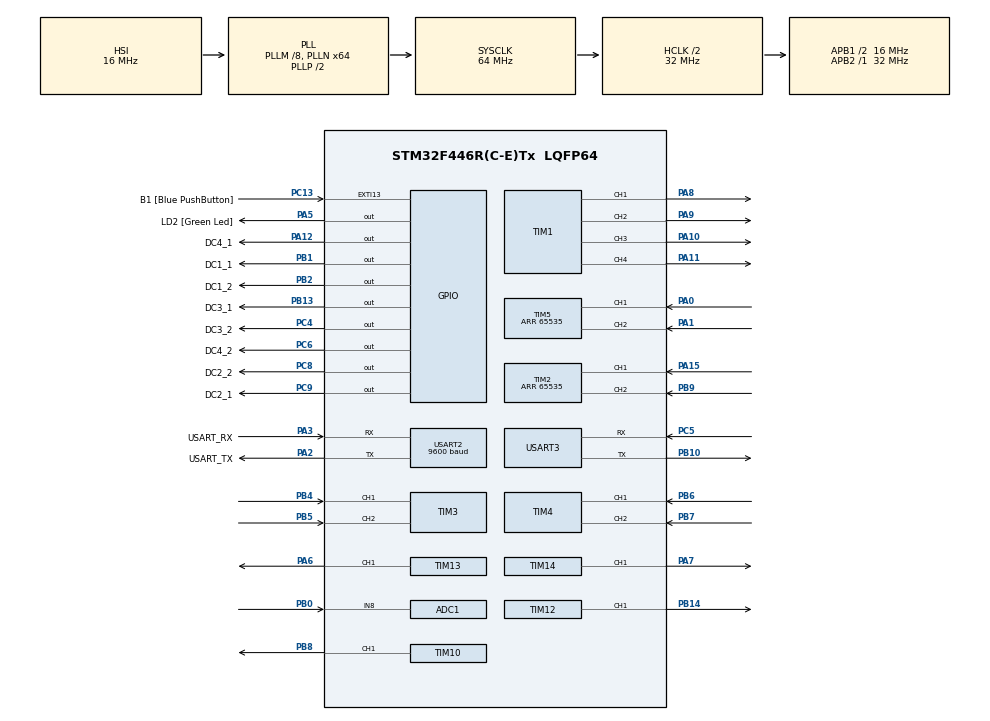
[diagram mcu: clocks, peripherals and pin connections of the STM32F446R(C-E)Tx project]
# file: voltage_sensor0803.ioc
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ADC1.Channel-0\#ChannelRegularConversion=ADC_CHANNEL_8
ADC1.ContinuousConvMode=ENABLE
ADC1.NbrOfConversionFlag=1
ADC1.Rank-0\#ChannelRegularConversion=1
ADC1.SamplingTime-0\#ChannelRegularConversion=ADC_SAMPLETIME_3CYCLES
ADC1.master=1
Mcu.Family=STM32F4
Mcu.Name=STM32F446R(C-E)Tx
Mcu.Package=LQFP64
NVIC.PriorityGroup=NVIC_PRIORITYGROUP_0
NVIC.TIM2_IRQn=true\:0\:0\:false\:false\:true\:true\:true\:true
NVIC.TIM3_IRQn=true\:0\:0\:false\:false\:true\:true\:true\:true
NVIC.TIM4_IRQn=true\:0\:0\:false\:false\:true\:true\:true\:true
NVIC.TIM5_IRQn=true\:0\:0\:false\:false\:true\:true\:true\:true
NVIC.USART2_IRQn=true\:0\:0\:false\:false\:true\:true\:true\:true
PA0-WKUP.Signal=S_TIM5_CH1
PA1.Signal=S_TIM5_CH2
PA10.Signal=S_TIM1_CH3
PA11.Signal=S_TIM1_CH4
PA12.GPIO_Label=DC4_1
PA12.Signal=GPIO_Output
PA13.GPIO_Label=TMS
PA13.Mode=Serial_Wire
PA13.Signal=SYS_JTMS-SWDIO
PA14.GPIO_Label=TCK
PA14.Mode=Serial_Wire
PA14.Signal=SYS_JTCK-SWCLK
PA15.Signal=S_TIM2_CH1_ETR
PA2.GPIO_Label=USART_TX
PA2.Mode=Asynchronous
PA2.Signal=USART2_TX
PA3.GPIO_Label=USART_RX
PA3.Mode=Asynchronous
PA3.Signal=USART2_RX
PA5.GPIO_Label=LD2 [Green Led]
PA5.Signal=GPIO_Output
PA6.Signal=S_TIM13_CH1
PA7.Signal=S_TIM14_CH1
PA8.Signal=S_TIM1_CH1
PA9.Signal=S_TIM1_CH2
PB0.Signal=ADCx_IN8
PB1.GPIO_Label=DC1_1
PB1.Signal=GPIO_Output
PB10.Mode=Asynchronous
PB10.Signal=USART3_TX
PB13.GPIO_Label=DC3_1
PB13.Signal=GPIO_Output
PB14.Signal=S_TIM12_CH1
PB2.GPIO_Label=DC1_2
PB2.Signal=GPIO_Output
PB3.GPIO_Label=SWO
PB3.Signal=SYS_JTDO-SWO
PB4.Signal=S_TIM3_CH1
PB5.Signal=S_TIM3_CH2
PB6.Signal=S_TIM4_CH1
PB7.Signal=S_TIM4_CH2
PB8.Signal=S_TIM10_CH1
PB9.Signal=S_TIM2_CH2
PC13.GPIO_Label=B1 [Blue PushButton]
PC13.GPIO_ModeDefaultEXTI=GPIO_MODE_IT_FALLING
PC13.Signal=GPXTI13
PC14-OSC32_IN.Mode=LSE-External-Oscillator
PC14-OSC32_IN.Signal=RCC_OSC32_IN
PC15-OSC32_OUT.Mode=LSE-External-Oscillator
PC15-OSC32_OUT.Signal=RCC_OSC32_OUT
PC4.GPIO_Label=DC3_2
PC4.Signal=GPIO_Output
PC5.Mode=Asynchronous
PC5.Signal=USART3_RX
PC6.GPIO_Label=DC4_2
PC6.Signal=GPIO_Output
PC8.GPIO_Label=DC2_2
PC8.Signal=GPIO_Output
PC9.GPIO_Label=DC2_1
PC9.Signal=GPIO_Output
PH0-OSC_IN.Mode=HSE-External-Oscillator
PH0-OSC_IN.Signal=RCC_OSC_IN
PH1-OSC_OUT.Mode=HSE-External-Oscillator
PH1-OSC_OUT.Signal=RCC_OSC_OUT
ProjectManager.HeapSize=0x200
ProjectManager.StackSize=0x400
ProjectManager.TargetToolchain=STM32CubeIDE
RCC.48MHZClocksFreq_Value=84000000
RCC.AHBCLKDivider=RCC_SYSCLK_DIV2
RCC.AHBFreq_Value=32000000
RCC.APB1CLKDivider=RCC_HCLK_DIV2
RCC.APB1Freq_Value=16000000
RCC.APB1TimFreq_Value=32000000
RCC.APB2Freq_Value=32000000
RCC.APB2TimFreq_Value=32000000
RCC.CortexFreq_Value=32000000
RCC.FLatency-AdvancedSettings=FLASH_LATENCY_1
RCC.HCLKFreq_Value=32000000
RCC.HSE_VALUE=8000000
RCC.HSI_VALUE=16000000
RCC.PLLM=8
RCC.PLLN=64
RCC.SYSCLKFreq_VALUE=64000000
RCC.SYSCLKSource=RCC_SYSCLKSOURCE_PLLCLK
RCC.USBFreq_Value=64000000
RCC.VCOOutputFreq_Value=128000000
SH.ADCx_IN8.0=ADC1_IN8,IN8
SH.S_TIM10_CH1.0=TIM10_CH1,PWM Generation1 CH1
SH.S_TIM12_CH1.0=TIM12_CH1,PWM Generation1 CH1
SH.S_TIM13_CH1.0=TIM13_CH1,PWM Generation1 CH1
SH.S_TIM14_CH1.0=TIM14_CH1,PWM Generation1 CH1
SH.S_TIM1_CH1.0=TIM1_CH1,PWM Generation1 CH1
SH.S_TIM1_CH2.0=TIM1_CH2,PWM Generation2 CH2
SH.S_TIM1_CH3.0=TIM1_CH3,PWM Generation3 CH3
SH.S_TIM1_CH4.0=TIM1_CH4,PWM Generation4 CH4
SH.S_TIM2_CH1_ETR.0=TIM2_CH1,Encoder_Interface
SH.S_TIM2_CH2.0=TIM2_CH2,Encoder_Interface
SH.S_TIM3_CH1.0=TIM3_CH1,Encoder_Interface
SH.S_TIM3_CH2.0=TIM3_CH2,Encoder_Interface
SH.S_TIM4_CH1.0=TIM4_CH1,Encoder_Interface
SH.S_TIM4_CH2.0=TIM4_CH2,Encoder_Interface
SH.S_TIM5_CH1.0=TIM5_CH1,Encoder_Interface
SH.S_TIM5_CH2.0=TIM5_CH2,Encoder_Interface
TIM1.Channel-PWM\ Generation1\ CH1=TIM_CHANNEL_1
TIM1.Channel-PWM\ Generation2\ CH2=TIM_CHANNEL_2
TIM1.Channel-PWM\ Generation3\ CH3=TIM_CHANNEL_3
TIM1.Channel-PWM\ Generation4\ CH4=TIM_CHANNEL_4
TIM10.Channel=TIM_CHANNEL_1
TIM10.Period=1000
TIM10.Prescaler=640
TIM12.Channel-PWM\ Generation1\ CH1=TIM_CHANNEL_1
TIM12.Period=1000
TIM12.Prescaler=640
TIM13.Channel=TIM_CHANNEL_1
TIM13.Period=1000
TIM13.Prescaler=640
TIM14.Channel=TIM_CHANNEL_1
TIM14.Period=1000
TIM14.Prescaler=640
TIM2.EncoderMode=TIM_ENCODERMODE_TI12
TIM2.Period=65535
TIM3.EncoderMode=TIM_ENCODERMODE_TI12
TIM4.EncoderMode=TIM_ENCODERMODE_TI12
TIM5.EncoderMode=TIM_ENCODERMODE_TI12
TIM5.Period=65535
USART2.BaudRate=9600
USART2.VirtualMode=VM_ASYNC
USART3.VirtualMode=VM_ASYNC
VP_TIM10_VS_ClockSourceINT.Mode=Enable_Timer
VP_TIM11_VS_ClockSourceINT.Mode=Enable_Timer
VP_TIM12_VS_ClockSourceINT.Mode=Internal
VP_TIM13_VS_ClockSourceINT.Mode=Enable_Timer
VP_TIM14_VS_ClockSourceINT.Mode=Enable_Timer
VP_TIM1_VS_ClockSourceINT.Mode=Internal
VP_TIM1_VS_OPM.Mode=OPM_bit
board=NUCLEO-F446RE

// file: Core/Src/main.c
/* USER CODE BEGIN Header */
/**
  ******************************************************************************
  * @file           : main.c
  * @brief          : Main program body
  ******************************************************************************
  * @attention
  *
  * Copyright (c) 2022 STMicroelectronics.
  * All rights reserved.
  *
  * This software is licensed under terms that can be found in the LICENSE file
  * in the root directory of this software component.
  * If no LICENSE file comes with this software, it is provided AS-IS.
  *
  ******************************************************************************
  */
/* USER CODE END Header */
#include "main.h"

/* USER CODE BEGIN Includes */
#include <stdlib.h>
#include <string.h>
/* USER CODE END Includes */

 ADC_HandleTypeDef hadc1;

TIM_HandleTypeDef htim1;
TIM_HandleTypeDef htim2;
TIM_HandleTypeDef htim3;
TIM_HandleTypeDef htim4;
TIM_HandleTypeDef htim5;
TIM_HandleTypeDef htim10;
TIM_HandleTypeDef htim11;
TIM_HandleTypeDef htim12;
TIM_HandleTypeDef htim13;
TIM_HandleTypeDef htim14;

UART_HandleTypeDef huart2;
UART_HandleTypeDef huart3;

/* USER CODE BEGIN PV */
uint16_t readValue;
float voltage;
/* USER CODE END PV */

void SystemClock_Config(void);
static void MX_GPIO_Init(void);
static void MX_USART2_UART_Init(void);
static void MX_TIM1_Init(void);
static void MX_TIM2_Init(void);
static void MX_TIM3_Init(void);
static void MX_TIM4_Init(void);
static void MX_TIM5_Init(void);
static void MX_TIM10_Init(void);
static void MX_TIM11_Init(void);
static void MX_TIM12_Init(void);
static void MX_TIM14_Init(void);
static void MX_TIM13_Init(void);
static void MX_USART3_UART_Init(void);
static void MX_ADC1_Init(void);
/* USER CODE BEGIN PFP */

void DCmotor(int, int, int, int);
void Servo(int, int, int, int);
/* USER CODE END PFP */

/* USER CODE BEGIN 0 */

uint32_t counter2 = 0;
uint32_t counter3 = 0;
uint32_t counter4 = 0;
uint32_t counter5 = 0;

int16_t count2 = 0;
int16_t count3 = 0;
int16_t count4 = 0;
int16_t count5 = 0;

uint8_t Rx_data[1];
int i=0;

void HAL_TIM_IC_CaptureCallback(TIM_HandleTypeDef *htim)
{
	if(htim == &htim2){
		counter2 = __HAL_TIM_GET_COUNTER(htim);
		count2 = (int16_t)counter2;
	}
	else if(htim == &htim3){
			counter3 = __HAL_TIM_GET_COUNTER(htim);
			count3 = (int16_t)counter3;
		}
	else if(htim == &htim4){
			counter4 = __HAL_TIM_GET_COUNTER(htim);
			count4 = (int16_t)counter4;
		}
	else if(htim == &htim5){
			counter5 = __HAL_TIM_GET_COUNTER(htim);
			count5 = (int16_t)counter5;
		}

}
void DCmotor(int speed1, int speed2, int speed3, int speed4)
{
	int a1=0, a2=0, a3=0, a4=0;
	int b1=0, b2=0, b3=0, b4=0;
	htim1.Instance-> CCR1 = abs(speed1);
	htim1.Instance-> CCR2 = abs(speed2);
	htim1.Instance-> CCR3 = abs(speed3);
	htim1.Instance-> CCR4 = abs(speed4);
	if(speed1>0){
		a1=1, b1=0;
	}else if (speed1<0){
		a1=0, b1=1;
	}else{
		a1=0, b1=0;
	}
	if(speed2>0){
		a2=1, b2=0;
	}else if (speed2<0){
		a2=0, b2=1;
	}else{
		a2=0, b2=0;
	}
	if(speed3>0){
		a3=1, b3=0;
	}else if (speed3<0){
		a3=0, b3=1;
	}else{
		a3=0, b3=0;
	}
	if(speed4>0){
		a4=1, b4=0;
	}else if (speed4<0){
		a4=0, b4=1;
	}else{
		a4=0, b4=0;
	}
	for(int i=0;i<2;i++){
		HAL_GPIO_WritePin(DC1_1_GPIO_Port, DC1_1_Pin, a1);
		HAL_GPIO_WritePin(DC1_2_GPIO_Port, DC1_2_Pin, b1);
		HAL_GPIO_WritePin(DC2_1_GPIO_Port, DC2_1_Pin, a2);
		HAL_GPIO_WritePin(DC2_2_GPIO_Port, DC2_2_Pin, b2);
		HAL_GPIO_WritePin(DC3_1_GPIO_Port, DC3_1_Pin, a3);
		HAL_GPIO_WritePin(DC3_2_GPIO_Port, DC3_2_Pin, b3);
		HAL_GPIO_WritePin(DC4_1_GPIO_Port, DC4_1_Pin, a4);
		HAL_GPIO_WritePin(DC4_2_GPIO_Port, DC4_2_Pin, b4);
		HAL_Delay(1000);
	}
}

void Servo(int speed1, int speed2, int speed3, int speed4)
{
	htim10.Instance->CCR1 = speed1;
	htim12.Instance->CCR1 = speed2;
	htim13.Instance->CCR1 = speed3;
	htim14.Instance->CCR1 = speed4;
}

void Voltage(ADC_HandleTypeDef* hadc)
{
	  HAL_ADC_PollForConversion(hadc,1000);
	  readValue = HAL_ADC_GetValue(hadc);
	  voltage =(float)readValue/4095*16.5;
	  HAL_Delay(100);
}
/* USER CODE END 0 */

int main(void)
{

  /* MCU Configuration--------------------------------------------------------*/

  /* Reset of all peripherals, Initializes the Flash interface and the Systick. */
  HAL_Init();

  /* Configure the system clock */
  SystemClock_Config();

  /* Initialize all configured peripherals */
  MX_GPIO_Init();
  MX_USART2_UART_Init();
  MX_TIM1_Init();
  MX_TIM2_Init();
  MX_TIM3_Init();
  MX_TIM4_Init();
  MX_TIM5_Init();
  MX_TIM10_Init();
  MX_TIM11_Init();
  MX_TIM12_Init();
  MX_TIM14_Init();
  MX_TIM13_Init();
  MX_USART3_UART_Init();
  MX_ADC1_Init();
  /* USER CODE BEGIN 2 */
  HAL_TIM_Encoder_Start_IT(&htim2, TIM_CHANNEL_ALL);
  HAL_TIM_Encoder_Start_IT(&htim3, TIM_CHANNEL_ALL);
  HAL_TIM_Encoder_Start_IT(&htim4, TIM_CHANNEL_ALL);
  HAL_TIM_Encoder_Start_IT(&htim5, TIM_CHANNEL_ALL);

  // start DC motor PWM
  HAL_TIM_PWM_Start(&htim1, TIM_CHANNEL_1);
  HAL_TIM_PWM_Start(&htim1, TIM_CHANNEL_2);
  HAL_TIM_PWM_Start(&htim1, TIM_CHANNEL_3);
  HAL_TIM_PWM_Start(&htim1, TIM_CHANNEL_4);

  htim1.Instance-> CCR1 = 80;
  htim1.Instance-> CCR2 = 80;
  htim1.Instance-> CCR3 = 80;
  htim1.Instance-> CCR4 = 80;

  // Servo PWM
  HAL_TIM_PWM_Start(&htim10, TIM_CHANNEL_1);
  HAL_TIM_PWM_Start(&htim12, TIM_CHANNEL_1);
  HAL_TIM_PWM_Start(&htim13, TIM_CHANNEL_1);
  HAL_TIM_PWM_Start(&htim14, TIM_CHANNEL_1);

  htim10.Instance->CCR1 = 75;
  htim12.Instance->CCR1 = 80;
  htim13.Instance->CCR1 = 100;
  htim14.Instance->CCR1 = 120;
  HAL_Delay(1000);

  // voltage sensor
  HAL_ADC_Start(&hadc1);

  /*
   Encoder: TIM2~TIM5
   DC motor: TIM1
   Servo: TIM10, TIM12, TIM13, TIM14
   */

  /* USER CODE END 2 */

  /* Infinite loop */
  /* USER CODE BEGIN WHILE */
  while (1)
  {
	  /*int speed1=0;
	  int speed2=0;
	  int speed3=0;
	  int speed4=0;

	  int pwm1=0;
	  int pwm2=0;
	  int pwm3=0;
	  int pwm4=0;*/

	  //Servo(75+pwm1, 80+pwm2, 100+pwm3, 120+pwm4);
	  //DCmotor(speed1, speed2, speed3, speed4);

	  Voltage(&hadc1);

    /* USER CODE END WHILE */

    /* USER CODE BEGIN 3 */
	  /*HAL_UART_Transmit(&huart3, (uint8_t*)"Hello World!\n\r", sizeof("Hello World!\n\r")-1, 1000);
	  HAL_Delay(200);
	  HAL_UART_Receive(&huart3, Rx_data, 1, 100);
	  if(Rx_data[0] == 'w'){
		  DCmotor(80,80,80,80);
	  }else if(Rx_data[0] == 's'){
		  DCmotor(0,0,0,0);
	  }else if(Rx_data[0] == 'x'){
		  DCmotor(-80,-80,-80,-80);
	  }*/
  }
  /* USER CODE END 3 */
}

void SystemClock_Config(void)
{
  RCC_OscInitTypeDef RCC_OscInitStruct = {0};
  RCC_ClkInitTypeDef RCC_ClkInitStruct = {0};

  /** Configure the main internal regulator output voltage
  */
  __HAL_RCC_PWR_CLK_ENABLE();
  __HAL_PWR_VOLTAGESCALING_CONFIG(PWR_REGULATOR_VOLTAGE_SCALE3);

  /** Initializes the RCC Oscillators according to the specified parameters
  * in the RCC_OscInitTypeDef structure.
  */
  RCC_OscInitStruct.OscillatorType = RCC_OSCILLATORTYPE_HSI;
  RCC_OscInitStruct.HSIState = RCC_HSI_ON;
  RCC_OscInitStruct.HSICalibrationValue = RCC_HSICALIBRATION_DEFAULT;
  RCC_OscInitStruct.PLL.PLLState = RCC_PLL_ON;
  RCC_OscInitStruct.PLL.PLLSource = RCC_PLLSOURCE_HSI;
  RCC_OscInitStruct.PLL.PLLM = 8;
  RCC_OscInitStruct.PLL.PLLN = 64;
  RCC_OscInitStruct.PLL.PLLP = RCC_PLLP_DIV2;
  RCC_OscInitStruct.PLL.PLLQ = 2;
  RCC_OscInitStruct.PLL.PLLR = 2;
  if (HAL_RCC_OscConfig(&RCC_OscInitStruct) != HAL_OK)
  {
    Error_Handler();
  }

  /** Initializes the CPU, AHB and APB buses clocks
  */
  RCC_ClkInitStruct.ClockType = RCC_CLOCKTYPE_HCLK|RCC_CLOCKTYPE_SYSCLK
                              |RCC_CLOCKTYPE_PCLK1|RCC_CLOCKTYPE_PCLK2;
  RCC_ClkInitStruct.SYSCLKSource = RCC_SYSCLKSOURCE_PLLCLK;
  RCC_ClkInitStruct.AHBCLKDivider = RCC_SYSCLK_DIV2;
  RCC_ClkInitStruct.APB1CLKDivider = RCC_HCLK_DIV2;
  RCC_ClkInitStruct.APB2CLKDivider = RCC_HCLK_DIV1;

  if (HAL_RCC_ClockConfig(&RCC_ClkInitStruct, FLASH_LATENCY_1) != HAL_OK)
  {
    Error_Handler();
  }
}

static void MX_ADC1_Init(void)
{

  ADC_ChannelConfTypeDef sConfig = {0};

  /** Configure the global features of the ADC (Clock, Resolution, Data Alignment and number of conversion)
  */
  hadc1.Instance = ADC1;
  hadc1.Init.ClockPrescaler = ADC_CLOCK_SYNC_PCLK_DIV2;
  hadc1.Init.Resolution = ADC_RESOLUTION_12B;
  hadc1.Init.ScanConvMode = DISABLE;
  hadc1.Init.ContinuousConvMode = ENABLE;
  hadc1.Init.DiscontinuousConvMode = DISABLE;
  hadc1.Init.ExternalTrigConvEdge = ADC_EXTERNALTRIGCONVEDGE_NONE;
  hadc1.Init.ExternalTrigConv = ADC_SOFTWARE_START;
  hadc1.Init.DataAlign = ADC_DATAALIGN_RIGHT;
  hadc1.Init.NbrOfConversion = 1;
  hadc1.Init.DMAContinuousRequests = DISABLE;
  hadc1.Init.EOCSelection = ADC_EOC_SINGLE_CONV;
  if (HAL_ADC_Init(&hadc1) != HAL_OK)
  {
    Error_Handler();
  }

  /** Configure for the selected ADC regular channel its corresponding rank in the sequencer and its sample time.
  */
  sConfig.Channel = ADC_CHANNEL_8;
  sConfig.Rank = 1;
  sConfig.SamplingTime = ADC_SAMPLETIME_3CYCLES;
  if (HAL_ADC_ConfigChannel(&hadc1, &sConfig) != HAL_OK)
  {
    Error_Handler();
  }

}

static void MX_TIM1_Init(void)
{

  TIM_ClockConfigTypeDef sClockSourceConfig = {0};
  TIM_MasterConfigTypeDef sMasterConfig = {0};
  TIM_OC_InitTypeDef sConfigOC = {0};
  TIM_BreakDeadTimeConfigTypeDef sBreakDeadTimeConfig = {0};

  htim1.Instance = TIM1;
  htim1.Init.Prescaler = 0;
  htim1.Init.CounterMode = TIM_COUNTERMODE_UP;
  htim1.Init.Period = 65535;
  htim1.Init.ClockDivision = TIM_CLOCKDIVISION_DIV1;
  htim1.Init.RepetitionCounter = 0;
  htim1.Init.AutoReloadPreload = TIM_AUTORELOAD_PRELOAD_DISABLE;
  if (HAL_TIM_Base_Init(&htim1) != HAL_OK)
  {
    Error_Handler();
  }
  sClockSourceConfig.ClockSource = TIM_CLOCKSOURCE_INTERNAL;
  if (HAL_TIM_ConfigClockSource(&htim1, &sClockSourceConfig) != HAL_OK)
  {
    Error_Handler();
  }
  if (HAL_TIM_PWM_Init(&htim1) != HAL_OK)
  {
    Error_Handler();
  }
  if (HAL_TIM_OnePulse_Init(&htim1, TIM_OPMODE_SINGLE) != HAL_OK)
  {
    Error_Handler();
  }
  sMasterConfig.MasterOutputTrigger = TIM_TRGO_RESET;
  sMasterConfig.MasterSlaveMode = TIM_MASTERSLAVEMODE_DISABLE;
  if (HAL_TIMEx_MasterConfigSynchronization(&htim1, &sMasterConfig) != HAL_OK)
  {
    Error_Handler();
  }
  sConfigOC.OCMode = TIM_OCMODE_PWM1;
  sConfigOC.Pulse = 0;
  sConfigOC.OCPolarity = TIM_OCPOLARITY_HIGH;
  sConfigOC.OCNPolarity = TIM_OCNPOLARITY_HIGH;
  sConfigOC.OCFastMode = TIM_OCFAST_DISABLE;
  sConfigOC.OCIdleState = TIM_OCIDLESTATE_RESET;
  sConfigOC.OCNIdleState = TIM_OCNIDLESTATE_RESET;
  if (HAL_TIM_PWM_ConfigChannel(&htim1, &sConfigOC, TIM_CHANNEL_1) != HAL_OK)
  {
    Error_Handler();
  }
  if (HAL_TIM_PWM_ConfigChannel(&htim1, &sConfigOC, TIM_CHANNEL_2) != HAL_OK)
  {
    Error_Handler();
  }
  if (HAL_TIM_PWM_ConfigChannel(&htim1, &sConfigOC, TIM_CHANNEL_3) != HAL_OK)
  {
    Error_Handler();
  }
  if (HAL_TIM_PWM_ConfigChannel(&htim1, &sConfigOC, TIM_CHANNEL_4) != HAL_OK)
  {
    Error_Handler();
  }
  sBreakDeadTimeConfig.OffStateRunMode = TIM_OSSR_DISABLE;
  sBreakDeadTimeConfig.OffStateIDLEMode = TIM_OSSI_DISABLE;
  sBreakDeadTimeConfig.LockLevel = TIM_LOCKLEVEL_OFF;
  sBreakDeadTimeConfig.DeadTime = 0;
  sBreakDeadTimeConfig.BreakState = TIM_BREAK_DISABLE;
  sBreakDeadTimeConfig.BreakPolarity = TIM_BREAKPOLARITY_HIGH;
  sBreakDeadTimeConfig.AutomaticOutput = TIM_AUTOMATICOUTPUT_DISABLE;
  if (HAL_TIMEx_ConfigBreakDeadTime(&htim1, &sBreakDeadTimeConfig) != HAL_OK)
  {
    Error_Handler();
  }
  HAL_TIM_MspPostInit(&htim1);

}

static void MX_TIM2_Init(void)
{

  TIM_Encoder_InitTypeDef sConfig = {0};
  TIM_MasterConfigTypeDef sMasterConfig = {0};

  htim2.Instance = TIM2;
  htim2.Init.Prescaler = 0;
  htim2.Init.CounterMode = TIM_COUNTERMODE_UP;
  htim2.Init.Period = 65535;
  htim2.Init.ClockDivision = TIM_CLOCKDIVISION_DIV1;
  htim2.Init.AutoReloadPreload = TIM_AUTORELOAD_PRELOAD_DISABLE;
  sConfig.EncoderMode = TIM_ENCODERMODE_TI12;
  sConfig.IC1Polarity = TIM_ICPOLARITY_RISING;
  sConfig.IC1Selection = TIM_ICSELECTION_DIRECTTI;
  sConfig.IC1Prescaler = TIM_ICPSC_DIV1;
  sConfig.IC1Filter = 0;
  sConfig.IC2Polarity = TIM_ICPOLARITY_RISING;
  sConfig.IC2Selection = TIM_ICSELECTION_DIRECTTI;
  sConfig.IC2Prescaler = TIM_ICPSC_DIV1;
  sConfig.IC2Filter = 0;
  if (HAL_TIM_Encoder_Init(&htim2, &sConfig) != HAL_OK)
  {
    Error_Handler();
  }
  sMasterConfig.MasterOutputTrigger = TIM_TRGO_RESET;
  sMasterConfig.MasterSlaveMode = TIM_MASTERSLAVEMODE_DISABLE;
  if (HAL_TIMEx_MasterConfigSynchronization(&htim2, &sMasterConfig) != HAL_OK)
  {
    Error_Handler();
  }

}

static void MX_TIM3_Init(void)
{

  TIM_Encoder_InitTypeDef sConfig = {0};
  TIM_MasterConfigTypeDef sMasterConfig = {0};

  htim3.Instance = TIM3;
  htim3.Init.Prescaler = 0;
  htim3.Init.CounterMode = TIM_COUNTERMODE_UP;
  htim3.Init.Period = 65535;
  htim3.Init.ClockDivision = TIM_CLOCKDIVISION_DIV1;
  htim3.Init.AutoReloadPreload = TIM_AUTORELOAD_PRELOAD_DISABLE;
  sConfig.EncoderMode = TIM_ENCODERMODE_TI12;
  sConfig.IC1Polarity = TIM_ICPOLARITY_RISING;
  sConfig.IC1Selection = TIM_ICSELECTION_DIRECTTI;
  sConfig.IC1Prescaler = TIM_ICPSC_DIV1;
  sConfig.IC1Filter = 0;
  sConfig.IC2Polarity = TIM_ICPOLARITY_RISING;
  sConfig.IC2Selection = TIM_ICSELECTION_DIRECTTI;
  sConfig.IC2Prescaler = TIM_ICPSC_DIV1;
  sConfig.IC2Filter = 0;
  if (HAL_TIM_Encoder_Init(&htim3, &sConfig) != HAL_OK)
  {
    Error_Handler();
  }
  sMasterConfig.MasterOutputTrigger = TIM_TRGO_RESET;
  sMasterConfig.MasterSlaveMode = TIM_MASTERSLAVEMODE_DISABLE;
  if (HAL_TIMEx_MasterConfigSynchronization(&htim3, &sMasterConfig) != HAL_OK)
  {
    Error_Handler();
  }

}

static void MX_TIM4_Init(void)
{

  TIM_Encoder_InitTypeDef sConfig = {0};
  TIM_MasterConfigTypeDef sMasterConfig = {0};

  htim4.Instance = TIM4;
  htim4.Init.Prescaler = 0;
  htim4.Init.CounterMode = TIM_COUNTERMODE_UP;
  htim4.Init.Period = 65535;
  htim4.Init.ClockDivision = TIM_CLOCKDIVISION_DIV1;
  htim4.Init.AutoReloadPreload = TIM_AUTORELOAD_PRELOAD_DISABLE;
  sConfig.EncoderMode = TIM_ENCODERMODE_TI12;
  sConfig.IC1Polarity = TIM_ICPOLARITY_RISING;
  sConfig.IC1Selection = TIM_ICSELECTION_DIRECTTI;
  sConfig.IC1Prescaler = TIM_ICPSC_DIV1;
  sConfig.IC1Filter = 0;
  sConfig.IC2Polarity = TIM_ICPOLARITY_RISING;
  sConfig.IC2Selection = TIM_ICSELECTION_DIRECTTI;
  sConfig.IC2Prescaler = TIM_ICPSC_DIV1;
  sConfig.IC2Filter = 0;
  if (HAL_TIM_Encoder_Init(&htim4, &sConfig) != HAL_OK)
  {
    Error_Handler();
  }
  sMasterConfig.MasterOutputTrigger = TIM_TRGO_RESET;
  sMasterConfig.MasterSlaveMode = TIM_MASTERSLAVEMODE_DISABLE;
  if (HAL_TIMEx_MasterConfigSynchronization(&htim4, &sMasterConfig) != HAL_OK)
  {
    Error_Handler();
  }

}

static void MX_TIM5_Init(void)
{

  TIM_Encoder_InitTypeDef sConfig = {0};
  TIM_MasterConfigTypeDef sMasterConfig = {0};

  htim5.Instance = TIM5;
  htim5.Init.Prescaler = 0;
  htim5.Init.CounterMode = TIM_COUNTERMODE_UP;
  htim5.Init.Period = 65535;
  htim5.Init.ClockDivision = TIM_CLOCKDIVISION_DIV1;
  htim5.Init.AutoReloadPreload = TIM_AUTORELOAD_PRELOAD_DISABLE;
  sConfig.EncoderMode = TIM_ENCODERMODE_TI12;
  sConfig.IC1Polarity = TIM_ICPOLARITY_RISING;
  sConfig.IC1Selection = TIM_ICSELECTION_DIRECTTI;
  sConfig.IC1Prescaler = TIM_ICPSC_DIV1;
  sConfig.IC1Filter = 0;
  sConfig.IC2Polarity = TIM_ICPOLARITY_RISING;
  sConfig.IC2Selection = TIM_ICSELECTION_DIRECTTI;
  sConfig.IC2Prescaler = TIM_ICPSC_DIV1;
  sConfig.IC2Filter = 0;
  if (HAL_TIM_Encoder_Init(&htim5, &sConfig) != HAL_OK)
  {
    Error_Handler();
  }
  sMasterConfig.MasterOutputTrigger = TIM_TRGO_RESET;
  sMasterConfig.MasterSlaveMode = TIM_MASTERSLAVEMODE_DISABLE;
  if (HAL_TIMEx_MasterConfigSynchronization(&htim5, &sMasterConfig) != HAL_OK)
  {
    Error_Handler();
  }

}

static void MX_TIM10_Init(void)
{

  TIM_OC_InitTypeDef sConfigOC = {0};

  htim10.Instance = TIM10;
  htim10.Init.Prescaler = 640;
  htim10.Init.CounterMode = TIM_COUNTERMODE_UP;
  htim10.Init.Period = 1000;
  htim10.Init.ClockDivision = TIM_CLOCKDIVISION_DIV1;
  htim10.Init.AutoReloadPreload = TIM_AUTORELOAD_PRELOAD_DISABLE;
  if (HAL_TIM_Base_Init(&htim10) != HAL_OK)
  {
    Error_Handler();
  }
  if (HAL_TIM_PWM_Init(&htim10) != HAL_OK)
  {
    Error_Handler();
  }
  sConfigOC.OCMode = TIM_OCMODE_PWM1;
  sConfigOC.Pulse = 0;
  sConfigOC.OCPolarity = TIM_OCPOLARITY_HIGH;
  sConfigOC.OCFastMode = TIM_OCFAST_DISABLE;
  if (HAL_TIM_PWM_ConfigChannel(&htim10, &sConfigOC, TIM_CHANNEL_1) != HAL_OK)
  {
    Error_Handler();
  }
  HAL_TIM_MspPostInit(&htim10);

}

static void MX_TIM11_Init(void)
{

  htim11.Instance = TIM11;
  htim11.Init.Prescaler = 0;
  htim11.Init.CounterMode = TIM_COUNTERMODE_UP;
  htim11.Init.Period = 65535;
  htim11.Init.ClockDivision = TIM_CLOCKDIVISION_DIV1;
  htim11.Init.AutoReloadPreload = TIM_AUTORELOAD_PRELOAD_DISABLE;
  if (HAL_TIM_Base_Init(&htim11) != HAL_OK)
  {
    Error_Handler();
  }

}

static void MX_TIM12_Init(void)
{

  TIM_ClockConfigTypeDef sClockSourceConfig = {0};
  TIM_OC_InitTypeDef sConfigOC = {0};

  htim12.Instance = TIM12;
  htim12.Init.Prescaler = 640;
  htim12.Init.CounterMode = TIM_COUNTERMODE_UP;
  htim12.Init.Period = 1000;
  htim12.Init.ClockDivision = TIM_CLOCKDIVISION_DIV1;
  htim12.Init.AutoReloadPreload = TIM_AUTORELOAD_PRELOAD_DISABLE;
  if (HAL_TIM_Base_Init(&htim12) != HAL_OK)
  {
    Error_Handler();
  }
  sClockSourceConfig.ClockSource = TIM_CLOCKSOURCE_INTERNAL;
  if (HAL_TIM_ConfigClockSource(&htim12, &sClockSourceConfig) != HAL_OK)
  {
    Error_Handler();
  }
  if (HAL_TIM_PWM_Init(&htim12) != HAL_OK)
  {
    Error_Handler();
  }
  sConfigOC.OCMode = TIM_OCMODE_PWM1;
  sConfigOC.Pulse = 0;
  sConfigOC.OCPolarity = TIM_OCPOLARITY_HIGH;
  sConfigOC.OCFastMode = TIM_OCFAST_DISABLE;
  if (HAL_TIM_PWM_ConfigChannel(&htim12, &sConfigOC, TIM_CHANNEL_1) != HAL_OK)
  {
    Error_Handler();
  }
  HAL_TIM_MspPostInit(&htim12);

}

static void MX_TIM13_Init(void)
{

  TIM_OC_InitTypeDef sConfigOC = {0};

  htim13.Instance = TIM13;
  htim13.Init.Prescaler = 640;
  htim13.Init.CounterMode = TIM_COUNTERMODE_UP;
  htim13.Init.Period = 1000;
  htim13.Init.ClockDivision = TIM_CLOCKDIVISION_DIV1;
  htim13.Init.AutoReloadPreload = TIM_AUTORELOAD_PRELOAD_DISABLE;
  if (HAL_TIM_Base_Init(&htim13) != HAL_OK)
  {
    Error_Handler();
  }
  if (HAL_TIM_PWM_Init(&htim13) != HAL_OK)
  {
    Error_Handler();
  }
  sConfigOC.OCMode = TIM_OCMODE_PWM1;
  sConfigOC.Pulse = 0;
  sConfigOC.OCPolarity = TIM_OCPOLARITY_HIGH;
  sConfigOC.OCFastMode = TIM_OCFAST_DISABLE;
  if (HAL_TIM_PWM_ConfigChannel(&htim13, &sConfigOC, TIM_CHANNEL_1) != HAL_OK)
  {
    Error_Handler();
  }
  HAL_TIM_MspPostInit(&htim13);

}

static void MX_TIM14_Init(void)
{

  TIM_OC_InitTypeDef sConfigOC = {0};

  htim14.Instance = TIM14;
  htim14.Init.Prescaler = 640;
  htim14.Init.CounterMode = TIM_COUNTERMODE_UP;
  htim14.Init.Period = 1000;
  htim14.Init.ClockDivision = TIM_CLOCKDIVISION_DIV1;
  htim14.Init.AutoReloadPreload = TIM_AUTORELOAD_PRELOAD_DISABLE;
  if (HAL_TIM_Base_Init(&htim14) != HAL_OK)
  {
    Error_Handler();
  }
  if (HAL_TIM_PWM_Init(&htim14) != HAL_OK)
  {
    Error_Handler();
  }
  sConfigOC.OCMode = TIM_OCMODE_PWM1;
  sConfigOC.Pulse = 0;
  sConfigOC.OCPolarity = TIM_OCPOLARITY_HIGH;
  sConfigOC.OCFastMode = TIM_OCFAST_DISABLE;
  if (HAL_TIM_PWM_ConfigChannel(&htim14, &sConfigOC, TIM_CHANNEL_1) != HAL_OK)
  {
    Error_Handler();
  }
  HAL_TIM_MspPostInit(&htim14);

}

static void MX_USART2_UART_Init(void)
{

  huart2.Instance = USART2;
  huart2.Init.BaudRate = 9600;
  huart2.Init.WordLength = UART_WORDLENGTH_8B;
  huart2.Init.StopBits = UART_STOPBITS_1;
  huart2.Init.Parity = UART_PARITY_NONE;
  huart2.Init.Mode = UART_MODE_TX_RX;
  huart2.Init.HwFlowCtl = UART_HWCONTROL_NONE;
  huart2.Init.OverSampling = UART_OVERSAMPLING_16;
  if (HAL_UART_Init(&huart2) != HAL_OK)
  {
    Error_Handler();
  }

}

static void MX_USART3_UART_Init(void)
{

  huart3.Instance = USART3;
  huart3.Init.BaudRate = 115200;
  huart3.Init.WordLength = UART_WORDLENGTH_8B;
  huart3.Init.StopBits = UART_STOPBITS_1;
  huart3.Init.Parity = UART_PARITY_NONE;
  huart3.Init.Mode = UART_MODE_TX_RX;
  huart3.Init.HwFlowCtl = UART_HWCONTROL_NONE;
  huart3.Init.OverSampling = UART_OVERSAMPLING_16;
  if (HAL_UART_Init(&huart3) != HAL_OK)
  {
    Error_Handler();
  }

}

static void MX_GPIO_Init(void)
{
  GPIO_InitTypeDef GPIO_InitStruct = {0};

  /* GPIO Ports Clock Enable */
  __HAL_RCC_GPIOC_CLK_ENABLE();
  __HAL_RCC_GPIOH_CLK_ENABLE();
  __HAL_RCC_GPIOA_CLK_ENABLE();
  __HAL_RCC_GPIOB_CLK_ENABLE();

  /*Configure GPIO pin Output Level */
  HAL_GPIO_WritePin(GPIOA, LD2_Pin|DC4_1_Pin, GPIO_PIN_RESET);

  /*Configure GPIO pin Output Level */
  HAL_GPIO_WritePin(GPIOC, DC3_2_Pin|DC4_2_Pin|DC2_2_Pin|DC2_1_Pin, GPIO_PIN_RESET);

  /*Configure GPIO pin Output Level */
  HAL_GPIO_WritePin(GPIOB, DC1_1_Pin|DC1_2_Pin|DC3_1_Pin, GPIO_PIN_RESET);

  /*Configure GPIO pin : B1_Pin */
  GPIO_InitStruct.Pin = B1_Pin;
  GPIO_InitStruct.Mode = GPIO_MODE_IT_FALLING;
  GPIO_InitStruct.Pull = GPIO_NOPULL;
  HAL_GPIO_Init(B1_GPIO_Port, &GPIO_InitStruct);

  /*Configure GPIO pins : LD2_Pin DC4_1_Pin */
  GPIO_InitStruct.Pin = LD2_Pin|DC4_1_Pin;
  GPIO_InitStruct.Mode = GPIO_MODE_OUTPUT_PP;
  GPIO_InitStruct.Pull = GPIO_NOPULL;
  GPIO_InitStruct.Speed = GPIO_SPEED_FREQ_LOW;
  HAL_GPIO_Init(GPIOA, &GPIO_InitStruct);

  /*Configure GPIO pins : DC3_2_Pin DC4_2_Pin DC2_2_Pin DC2_1_Pin */
  GPIO_InitStruct.Pin = DC3_2_Pin|DC4_2_Pin|DC2_2_Pin|DC2_1_Pin;
  GPIO_InitStruct.Mode = GPIO_MODE_OUTPUT_PP;
  GPIO_InitStruct.Pull = GPIO_NOPULL;
  GPIO_InitStruct.Speed = GPIO_SPEED_FREQ_LOW;
  HAL_GPIO_Init(GPIOC, &GPIO_InitStruct);

  /*Configure GPIO pins : DC1_1_Pin DC1_2_Pin DC3_1_Pin */
  GPIO_InitStruct.Pin = DC1_1_Pin|DC1_2_Pin|DC3_1_Pin;
  GPIO_InitStruct.Mode = GPIO_MODE_OUTPUT_PP;
  GPIO_InitStruct.Pull = GPIO_NOPULL;
  GPIO_InitStruct.Speed = GPIO_SPEED_FREQ_LOW;
  HAL_GPIO_Init(GPIOB, &GPIO_InitStruct);

}

void Error_Handler(void)
{
  __disable_irq();
  while (1)
  {
  }
}
